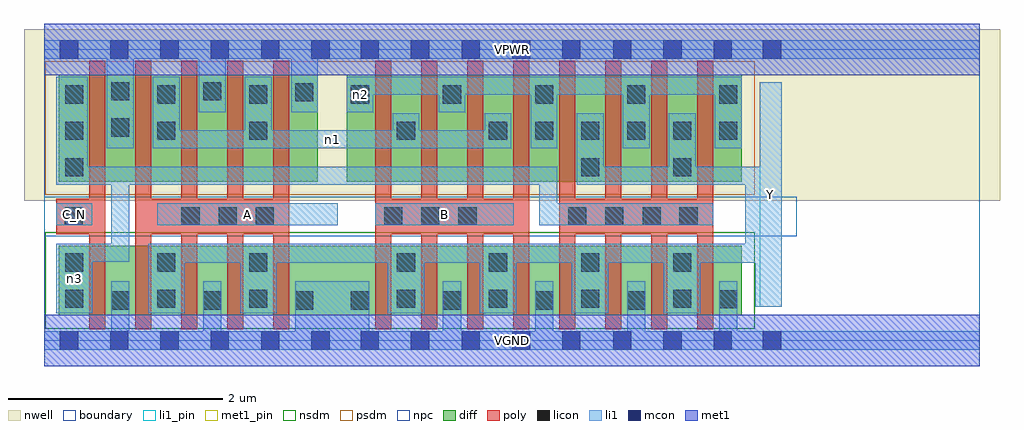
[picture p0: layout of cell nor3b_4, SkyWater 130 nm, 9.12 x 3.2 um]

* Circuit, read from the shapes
.subckt nor3b_4 A B C_N VGND VPWR Y n1 n2 n3
XM1 VGND C_N n3 VSUBS sky130_fd_pr__nfet_01v8 w=0.65 l=0.15
XM2 Y A VGND VSUBS sky130_fd_pr__nfet_01v8 w=0.65 l=0.15 m=4
XM3 Y B VGND VSUBS sky130_fd_pr__nfet_01v8 w=0.65 l=0.15 m=4
XM4 Y n3 VGND VSUBS sky130_fd_pr__nfet_01v8 w=0.65 l=0.15 m=4
XM5 VPWR C_N n3 n4 sky130_fd_pr__pfet_01v8 w=1 l=0.15
XM6 n1 A VPWR n4 sky130_fd_pr__pfet_01v8 w=1 l=0.15 m=4
XM7 n1 B n2 n4 sky130_fd_pr__pfet_01v8 w=1 l=0.15 m=4
XM8 Y n3 n2 n4 sky130_fd_pr__pfet_01v8 w=1 l=0.15 m=4
.ends

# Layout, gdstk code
import gdstk
lib = gdstk.Library(unit=1e-6, precision=1e-09)
def R(c, l, rs):  # rectangles x0, y0, x1, y1
    for r in rs: c.add(gdstk.rectangle(r[:2], r[2:], *l))
def A(c, l, x, y, w, h, nx, ny, dx, dy):  # array of equal rectangles
    R(c, l, [(x+i*dx, y+j*dy, x+i*dx+w, y+j*dy+h) for i in range(nx) for j in range(ny)])
nwell = (64, 20)
diff = (65, 20)
poly = (66, 20)
licon = (66, 44)
li1_pin = (67, 16)
li1 = (67, 20)
mcon = (67, 44)
met1_pin = (68, 16)
met1 = (68, 20)
nsdm = (93, 44)
psdm = (94, 20)
npc = (95, 20)
boundary = (235, 4)

nor3b_4 = lib.new_cell('nor3b_4')
R(nor3b_4, nwell, [(-0.19,1.305,8.93,2.91), (0,1.305,8.74,2.91)])
R(nor3b_4, diff, [(0.135,0.235,6.515,0.885), (0.135,1.485,2.555,2.485), (2.825,1.485,6.515,2.485)])
A(nor3b_4, poly, 0.42, 0.105, 0.15, 2.51, 5, 1, 0.43, 0)
A(nor3b_4, poly, 3.09, 0.105, 0.15, 2.51, 8, 1, 0.43, 0)
R(nor3b_4, poly, [(0.11,0.995,0.57,1.325), (0.85,0.995,2.29,1.325), (3.09,0.995,4.53,1.325), (4.81,0.995,6.25,1.325)])
A(nor3b_4, licon, 0.625, 0.29, 0.17, 0.17, 3, 1, 0.86, 0)
A(nor3b_4, licon, 2.865, 0.29, 0.17, 0.17, 4, 1, 0.86, 0)
A(nor3b_4, licon, 0.195, 0.305, 0.17, 0.17, 3, 2, 0.86, 0.34)
A(nor3b_4, licon, 3.295, 0.305, 0.17, 0.17, 4, 2, 0.86, 0.34)
A(nor3b_4, licon, 0.195, 1.875, 0.17, 0.17, 3, 2, 0.86, 0.34)
A(nor3b_4, licon, 4.155, 1.875, 0.17, 0.17, 6, 1, 0.43, 0)
A(nor3b_4, licon, 2.865, 2.215, 0.17, 0.17, 5, 1, 0.86, 0)
R(nor3b_4, licon, [(6.305,0.3,6.475,0.47), (0.19,1.075,0.36,1.245), (1.28,1.075,1.45,1.245), (1.63,1.075,1.8,1.245), (1.975,1.075,2.145,1.245), (3.175,1.075,3.345,1.245), (3.52,1.075,3.69,1.245), (3.87,1.075,4.04,1.245), (4.895,1.075,5.065,1.245), (5.24,1.075,5.41,1.245), (5.59,1.075,5.76,1.245), (5.935,1.075,6.105,1.245), (0.195,1.535,0.365,1.705), (5.015,1.535,5.185,1.705), (5.875,1.535,6.045,1.705), (3.295,1.875,3.465,2.045), (0.625,1.905,0.795,2.075), (2.345,2.235,2.515,2.405), (0.625,2.245,0.795,2.415), (1.485,2.245,1.655,2.415)])
R(nor3b_4, li1_pin, [(6.685,0.315,6.89,2.415), (0.11,1.075,0.45,1.285), (1.055,1.075,2.74,1.285), (3.09,1.075,4.385,1.285)])
A(nor3b_4, li1, 3.725, -0.085, 0.17, 0.64, 4, 1, 0.86, 0)
A(nor3b_4, li1, 0.11, 0.255, 0.34, 0.65, 3, 1, 0.86, 0)
A(nor3b_4, li1, 3.21, 0.255, 0.34, 0.65, 4, 1, 0.86, 0)
A(nor3b_4, li1, 4.545, 1.795, 0.25, 0.67, 3, 1, 0.86, 0)
R(nor3b_4, li1, [(0,-0.085,8.74,0.085), (0.625,-0.085,0.795,0.555), (1.485,-0.085,1.655,0.555), (2.345,-0.085,3.035,0.555), (6.645,0.315,6.89,1.625), (6.685,0.315,6.89,2.415), (0.97,0.725,6.89,0.905), (6.55,0.725,6.89,1.625), (0.11,0.735,0.795,0.905), (0.625,0.735,0.795,1.625), (0.11,1.075,0.45,1.285), (1.055,1.075,2.74,1.285), (3.09,1.075,4.385,1.285), (4.625,1.075,6.25,1.285), (4.625,1.075,4.795,1.625), (0.11,1.455,4.795,1.625), (0.11,1.455,0.405,2.465), (4.975,1.455,6.89,1.625), (4.975,1.455,5.225,2.125), (5.835,1.455,6.085,2.125), (0.585,1.795,0.835,2.805), (1.015,1.795,1.265,2.465), (1.015,1.795,4.365,1.965), (1.875,1.795,2.125,2.465), (3.255,1.795,3.505,2.125), (4.115,1.795,4.365,2.125), (1.445,2.135,1.695,2.805), (2.305,2.135,2.555,2.805), (2.825,2.135,3.075,2.465), (3.685,2.135,3.935,2.465), (2.825,2.295,6.515,2.465), (0,2.635,8.74,2.805)])
A(nor3b_4, mcon, 0.145, -0.085, 0.17, 0.17, 6, 2, 0.47, 2.72)
A(nor3b_4, mcon, 3.9, -0.085, 0.17, 0.17, 3, 2, 0.47, 2.72)
A(nor3b_4, mcon, 5.315, -0.085, 0.17, 0.17, 3, 2, 0.47, 2.72)
R(nor3b_4, mcon, [(2.955,-0.085,3.125,0.085), (3.425,-0.085,3.595,0.085), (6.715,-0.085,6.885,0.085), (2.955,2.635,3.125,2.805), (3.425,2.635,3.595,2.805), (6.715,2.635,6.885,2.805)])
R(nor3b_4, met1_pin, [(0,-0.24,8.74,0.24), (0,2.48,8.74,2.96)])
R(nor3b_4, met1, [(0,-0.24,8.74,0.24), (0,2.48,8.74,2.96)])
R(nor3b_4, nsdm, [(0.01,0.11,6.64,1.01)])
R(nor3b_4, psdm, [(0.01,1.36,6.64,2.61)])
R(nor3b_4, npc, [(0,0.975,7.03,1.345)])
R(nor3b_4, boundary, [(0,0,8.74,2.72)])
nor3b_4.add(gdstk.Label('A', (1.897,1.18), layer=67, texttype=5))
nor3b_4.add(gdstk.Label('B', (3.737,1.18), layer=67, texttype=5))
nor3b_4.add(gdstk.Label('C_N', (0.28,1.18), layer=67, texttype=5))
nor3b_4.add(gdstk.Label('Y', (6.787,1.365), layer=67, texttype=5))
nor3b_4.add(gdstk.Label('n3', (0.28,0.58), layer=67, texttype=5))
nor3b_4.add(gdstk.Label('n1', (2.69,1.88), layer=67, texttype=5))
nor3b_4.add(gdstk.Label('n2', (2.95,2.3), layer=67, texttype=5))
nor3b_4.add(gdstk.Label('VPWR', (4.37,2.72), layer=68, texttype=5))
nor3b_4.add(gdstk.Label('VGND', (4.37,0), layer=68, texttype=5))
nor3b_4.add(gdstk.Label('A', (1.897,1.18), layer=67, texttype=16))
nor3b_4.add(gdstk.Label('B', (3.737,1.18), layer=67, texttype=16))
nor3b_4.add(gdstk.Label('C_N', (0.28,1.18), layer=67, texttype=16))
nor3b_4.add(gdstk.Label('Y', (6.787,1.365), layer=67, texttype=16))
nor3b_4.add(gdstk.Label('VPWR', (4.37,2.72), layer=68, texttype=16))
nor3b_4.add(gdstk.Label('VGND', (4.37,0), layer=68, texttype=16))

lib.write_gds('nor3b_4.gds')
